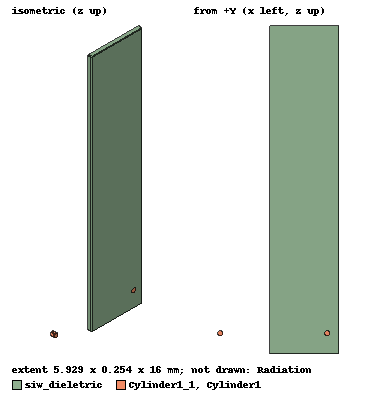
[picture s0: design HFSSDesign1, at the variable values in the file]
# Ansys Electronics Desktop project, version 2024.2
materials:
  vacuum: permittivity=1
  copper: permeability=0.999991 conductivity=58000000
  air: permittivity=1.0006 permeability=1.0000004
  Arlon DiClad 880 (tm): permittivity=2.2 dielectric_loss_tangent=0.0009
  Al2_O3_ceramic: permittivity=9.8

design HFSSDesign1 (HFSS, HFSS Modal Network, model units mm)
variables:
  a = 3.39mm
  b = 0.254mm
  L = 16mm
  th = 0.05mm
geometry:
  Radiation [air] = box(corner=(-a/2 -2.5mm, -b/2 -2.5mm, 0mm), size=(a+5mm, b+5mm, L))
  siw_dieletric [Al2_O3_ceramic] = box(corner=(-a/2, -b/2, 0mm), size=(a, b, L))
  Cylinder1 [copper] = cylinder(axis=Y, base_centre=(-a/3, -b/2, 1mm), radius=b/2, height=b)
  Cylinder1_1 [copper] = Cylinder1.duplicate_along_line(step=(5.237mm, 0mm, 0mm), total=2)
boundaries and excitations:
  Rad1: Radiation Objects=Radiation
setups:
  Setup1: HfssDriven Frequency=44GHz MaxDeltaE=0.1 MaximumPasses=20 MinimumPasses=1 MinimumConvergedPasses=1 PercentRefinement=30 BasisOrder=1 DrivenSolverType="Direct Solver"
    sweep Sweep: 10GHz to 50GHz step 0.5GHz; Type=Discrete SaveFields
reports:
  Gamma Plot 1: im(Gamma(1:1)), im(Gamma(1:2)), im(Gamma(1:3)) vs Freq on Setup1 : Sweep [L=all]
  Gamma Plot 2: re(Gamma(1:1)), re(Gamma(1:2)), re(Gamma(1:3)) vs Freq on Setup1 : Sweep [L=all]
  S Parameter Plot 1: dB(S(1:1,2:1)), dB(S(1:2,2:2)), dB(S(1:3,2:3)) vs Freq on Setup1 : Sweep [L=all]
